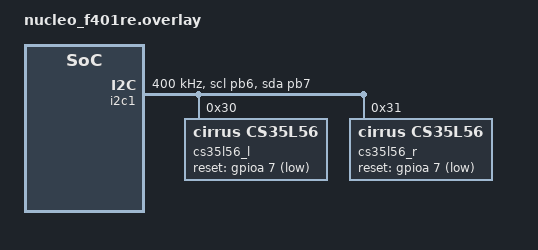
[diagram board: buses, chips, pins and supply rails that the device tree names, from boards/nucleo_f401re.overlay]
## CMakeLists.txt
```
# SPDX-License-Identifier: Apache-2.0
set(DRIVER_BASE "../../../..")
cmake_minimum_required(VERSION 3.20.0)

find_package(Zephyr REQUIRED HINTS $ENV{ZEPHYR_BASE})
project(stream_cs35l56)

FILE(GLOB app_sources src/*.c ${DRIVER_BASE}/cs35l56/*.c ${DRIVER_BASE}/common/fw_img.c)
target_sources(app PRIVATE ${app_sources})

zephyr_library_add_dependencies(offsets_h)

zephyr_compile_definitions(CIRRUS_ZEPHYR_SAMPLE)

add_subdirectory(src)
```

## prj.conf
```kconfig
CONFIG_LOG=y
CONFIG_AUDIO=y
CONFIG_AUDIO_CODEC=y
CONFIG_AUDIO_CS35L56=y
CONFIG_HEAP_MEM_POOL_SIZE=8192
CONFIG_SHELL=y
CONFIG_I2C_SHELL=y
CONFIG_GPIO=y
```

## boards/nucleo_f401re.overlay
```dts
/*
 * Copyright (c) 2026 Cirrus Logic, Inc.
 *
 * SPDX-License-Identifier: Apache-2.0
 */

&i2c1 {
        status = "okay";
        clock-frequency = <I2C_BITRATE_FAST>;
	pinctrl-0 = <&i2c1_scl_pb6 &i2c1_sda_pb7>;

        cs35l56_l: cs35l56@30 {
                compatible = "cirrus,cs35l56";
                reg = <0x30>;
                status = "okay";

                reset-gpios = <&gpioa 7 (GPIO_ACTIVE_LOW | GPIO_PULL_UP)>;
        };

        cs35l56_r: cs35l56@31 {
                compatible = "cirrus,cs35l56";
                reg = <0x31>;
                status = "okay";

                reset-gpios = <&gpioa 7 (GPIO_ACTIVE_LOW | GPIO_PULL_UP)>;
        };
};
```

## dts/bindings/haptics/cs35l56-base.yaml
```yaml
description: CS35L56 Audio Driver

compatible: "cirrus,cs35l56"

include: ["i2c-device.yaml"]

properties:
  reset-gpios:
    required: true
    type: phandle-array
    description: Host GPIO pin mapped to CS35L56 reset pin.
```

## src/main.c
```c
/*
 * Copyright (c) Cirrus Logic 2026 All Rights Reserved, http://www.cirrus.com/
 *
 * Licensed under the Apache License, Version 2.0 (the License); you may
 * not use this file except in compliance with the License.
 * You may obtain a copy of the License at
 *
 * www.apache.org/licenses/LICENSE-2.0
 *
 * Unless required by applicable law or agreed to in writing, software
 * distributed under the License is distributed on an AS IS BASIS, WITHOUT
 * WARRANTIES OR CONDITIONS OF ANY KIND, either express or implied.
 * See the License for the specific language governing permissions and
 * limitations under the License.
 *
 */

#include <errno.h>

#include <zephyr/device.h>
#include <zephyr/devicetree.h>
#include <zephyr/kernel.h>
#include <zephyr/logging/log.h>
#include <zephyr/audio/codec.h>
#include <zephyr/drivers/i2c.h>
#include <zephyr/drivers/uart.h>
#include <zephyr/sys/util.h>
#include "cs35l56_bsp.h"

#define LOG_LEVEL 4

#define AUDIO_AMP_LEFT  0
#define AUDIO_AMP_RIGHT 1

LOG_MODULE_REGISTER(main);

const struct device *amps[] = {
    [AUDIO_AMP_LEFT] = DEVICE_DT_GET(DT_NODELABEL(cs35l56_l)),
    [AUDIO_AMP_RIGHT] = DEVICE_DT_GET(DT_NODELABEL(cs35l56_r)),
};

#define SW0_NODE DT_ALIAS(sw0)
#if !DT_NODE_HAS_STATUS_OKAY(SW0_NODE)
#error "Unsupported board: sw0 devicetree alias is not defined"
#endif
static const struct gpio_dt_spec button = GPIO_DT_SPEC_GET_OR(SW0_NODE, gpios, {0});

static int init_button(void)
{
    int ret;
    if (!gpio_is_ready_dt(&button)) {
        printk("Error: button device %s is not ready\n", button.port->name);
        return ret;
    }

    ret = gpio_pin_configure_dt(&button, GPIO_INPUT);
    if (ret != 0) {
        printk("Error %d: failed to configure %s pin %d\n", ret, button.port->name,
               button.pin);
        return ret;
    }
    return 0;
}

static void set_codec_output_state(bool playback)
{
    printk("Audio playback %s\n", playback ? "starting" : "paused");
    if (playback) {
        for (int i = 0; i < ARRAY_SIZE(amps); i++) {
            if (amps[i] == NULL) {
                continue;
            }
            audio_codec_start_output(amps[i]);
        }
    } else {
        for (int i = 0; i < ARRAY_SIZE(amps); i++) {
            if (amps[i] == NULL) {
                continue;
            }
            audio_codec_stop_output(amps[i]);
        }
    }
    return;
}

int main(void)
{
    init_button();

    if (amps[AUDIO_AMP_LEFT] == NULL || amps[AUDIO_AMP_RIGHT] == NULL) {
        LOG_ERR("CS35L56 stereo device not found");
        return -ENODEV;
    }
    for (int i = 0; i < ARRAY_SIZE(amps); i++) {
        if (!device_is_ready(amps[i])) {
            LOG_ERR("CS35L56 device %s is not ready", amps[i]->name);
            return -EIO;
        } else {
            LOG_INF("Found CS35L56 device %s", amps[i]->name);
        }
    }

    bool playback = false;
    while (1) {
        // Playback is initially paused, toggle playback on button press
        if (gpio_pin_get_dt(&button)) {
            playback = !playback;
            set_codec_output_state(playback);
            k_msleep(100);
            while (gpio_pin_get_dt(&button))
                ;
        }
        k_msleep(1);
    }

    return 0;
}
```

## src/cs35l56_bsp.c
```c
/*
 * Copyright (c) Cirrus Logic 2026 All Rights Reserved, http://www.cirrus.com/
 *
 * Licensed under the Apache License, Version 2.0 (the License); you may
 * not use this file except in compliance with the License.
 * You may obtain a copy of the License at
 *
 * www.apache.org/licenses/LICENSE-2.0
 *
 * Unless required by applicable law or agreed to in writing, software
 * distributed under the License is distributed on an AS IS BASIS, WITHOUT
 * WARRANTIES OR CONDITIONS OF ANY KIND, either express or implied.
 * See the License for the specific language governing permissions and
 * limitations under the License.
 *
 */

#include "cs35l56_bsp.h"
#include "cs35l56.h"
#include <zephyr/kernel.h>
#include <zephyr/logging/log.h>
#include <zephyr/drivers/i2c.h>
#include <zephyr/audio/codec.h>

#include "cs35l56_firmware.h"

LOG_MODULE_REGISTER(cirrus_cs35l56);

struct cs35l56_config {
    struct i2c_dt_spec i2c;
    struct gpio_dt_spec reset_gpio;
    void (*irq_cfg_func)(void);
    void (*irq_enable_func)(void);
    void (*irq_disable_func)(void);
};

int cs35l56_i2c_write_reg_dt(const struct i2c_dt_spec *spec, const uint32_t reg_addr,
                 const uint32_t value)
{
    uint8_t addr_buf[CS35L56_ADDR_BYTES], data_buf[CS35L56_DATA_BYTES],
        msg_buf[CS35L56_I2C_MSG_BYTES];
    int i, j = CS35L56_DATA_BYTES;

    sys_put_be32(reg_addr, addr_buf);
    sys_put_be32(value, data_buf);

    for (i = 0; i < ARRAY_SIZE(addr_buf); i++) {
        msg_buf[i] = addr_buf[i];
        msg_buf[j] = data_buf[i];
        j++;
    }

    return i2c_write_dt(spec, msg_buf, sizeof(msg_buf));
}

int cs35l56_i2c_read_reg_dt(const struct i2c_dt_spec *spec, const uint32_t reg_addr,
                uint32_t *value)
{
    uint8_t write_buf[CS35L56_DATA_BYTES], read_buf[CS35L56_DATA_BYTES];
    int ret;

    sys_put_be32(reg_addr, write_buf);

    ret = i2c_write_read_dt(spec, write_buf, sizeof(write_buf), read_buf, sizeof(read_buf));
    if (ret < 0) {
        LOG_INF("cs35l56_i2c_read_reg_dt error\n");
        return ret;
    }

    *value = sys_get_be32(read_buf);

    return 0;
}

int cs35l56_update_reg_dt(const struct i2c_dt_spec *spec, const uint32_t reg_addr,
              const uint32_t mask, const uint32_t value)
{
    uint32_t old_value, new_value;
    int ret;

    ret = cs35l56_i2c_read_reg_dt(spec, reg_addr, &old_value);
    if (ret < 0) {
        return ret;
    }

    new_value = (old_value & ~mask) | (value & mask);
    if (new_value == old_value) {
        return 0;
    }

    return cs35l56_i2c_write_reg_dt(spec, reg_addr, new_value);
}

/* write addr/word pairs */
int cs35l56_write_array_dt(const struct i2c_dt_spec *spec, const uint32_t *array, uint32_t words)
{
    int i, ret;

    for (i = 0; i < words; i += 2) {
        ret = cs35l56_i2c_write_reg_dt(spec, array[i], array[i + 1]);
        if (ret < 0) {
            return ret;
        }
    }
    return 0;
}

/**
 * Reads a register for a specific value for a specified amount of tries while waiting between
 * reads.
 *
 */
int cs35l56_poll_reg_dt(const struct i2c_dt_spec *spec, const uint32_t reg_addr, uint32_t value,
            uint32_t tries, uint32_t delay)
{
    uint32_t tmp;
    int i, ret;

    for (i = 0; i < tries; i++) {
        ret = cs35l56_i2c_read_reg_dt(spec, reg_addr, &tmp);
        if (ret < 0) {
            return ret;
        }

        if (tmp == value) {
            return 0;
        }

        k_msleep(delay);
    }
    return 0;
}

int cs35l56_write_acked_reg_dt(const struct i2c_dt_spec *spec, const uint32_t reg_addr,
                   uint32_t val, uint32_t acked_val, uint8_t tries, uint32_t delay)
{
    int i, ret;

    ret = cs35l56_i2c_write_reg_dt(spec, reg_addr, val);
    if (ret < 0) {
        return ret;
    }

    for (i = 0; i < tries; i++) {
        uint32_t temp_reg_val;

        k_msleep(delay);

        cs35l56_i2c_read_reg_dt(spec, reg_addr, &temp_reg_val);

        if (temp_reg_val == acked_val) {
            return 0;
        }
    }

    return -1;
}

int cs35l56_i2c_write_bulk_bus(const struct i2c_dt_spec *spec, const uint32_t reg_addr,
                   const uint8_t *buf, unsigned int num_bytes, uint16_t bus_addr)
{
    uint8_t addr_buf[CS35L56_ADDR_BYTES], *msg_buf;
    int i, ret = 0;

    LOG_INF("cs35l56_i2c_write_bulk_bus: reg=%x size=%d\n", reg_addr, num_bytes);

    msg_buf = k_malloc(num_bytes + CS35L56_DATA_BYTES);
    if (!msg_buf) {
        return -ENOMEM;
    }

    sys_put_be32(reg_addr, addr_buf);

    for (i = 0; i < ARRAY_SIZE(addr_buf); i++) {
        msg_buf[i] = addr_buf[i];
    }

    bytecpy(msg_buf + CS35L56_DATA_BYTES, buf, num_bytes);

    ret = i2c_write(spec->bus, msg_buf, CS35L56_DATA_BYTES + num_bytes, bus_addr);

    k_free(msg_buf);
    return ret;
}

int cs35l56_i2c_write_bus(const struct i2c_dt_spec *spec, const uint32_t reg_addr, uint32_t val,
              uint16_t bus_addr)
{
    uint8_t addr_buf[CS35L56_ADDR_BYTES], data_buf[CS35L56_DATA_BYTES], *msg_buf;
    int ret = 0;

    LOG_INF("cs35l56_i2c_write_bus: reg=%x\n", reg_addr);

    msg_buf = k_malloc(CS35L56_I2C_MSG_BYTES);
    if (!msg_buf) {
        return -ENOMEM;
    }

    sys_put_be32(reg_addr, addr_buf);
    sys_put_be32(val, data_buf);

    bytecpy(msg_buf, addr_buf, CS35L56_ADDR_BYTES);
    bytecpy(msg_buf + CS35L56_ADDR_BYTES, data_buf, CS35L56_DATA_BYTES);

    ret = i2c_write(spec->bus, msg_buf, CS35L56_I2C_MSG_BYTES, bus_addr);

    k_free(msg_buf);
    return ret;
}

int cs35l56_i2c_write_bulk_dt(const struct i2c_dt_spec *spec, const uint32_t reg_addr,
                  const uint8_t *buf, unsigned int num_bytes)
{
    uint8_t addr_buf[sizeof(reg_addr)];
    struct i2c_msg msg[2];

    LOG_INF("%s: reg=0x%x size=%d", __func__, reg_addr, num_bytes);

    sys_put_be32(reg_addr, addr_buf);

    msg[0].buf = addr_buf;
    msg[0].len = CS35L56_DATA_BYTES;
    msg[0].flags = I2C_MSG_WRITE;

    msg[1].buf = (uint8_t *)buf;
    msg[1].len = num_bytes;
    msg[1].flags = I2C_MSG_WRITE | I2C_MSG_STOP;

    return i2c_transfer_dt(spec, msg, 2);
}

static int cs35l56_write_fw_blocks(const struct i2c_dt_spec *i2c, halo_boot_block_t *blocks,
                   int num_blocks)
{
    int i, ret;
    halo_boot_block_t block;
    uint32_t bytes, address;
    uint8_t *buffer;

    for (i = 0; i < num_blocks; i++) {
        block = blocks[i];
        bytes = block.block_size;
        address = block.address;
        buffer = (uint8_t *)block.bytes;
        ret = cs35l56_i2c_write_bulk_dt(i2c, address, buffer, bytes);
        if (ret != 0) {
            return ret;
        }
        k_msleep(5);
    }

    return 0;
}

static int cs35l56_fw_reset(const struct device *dev)
{
    int i = 0, ret;
    uint32_t val;

    struct cs35l56_bsp *data = dev->data;
    cs35l56_t *drv = &data->priv;
    const struct i2c_dt_spec *i2c = drv->config.bsp_config.i2c;

    ret = regmap_write(i2c, FIRMWARE_CS35L56_HALO_STATE, CS35L56_STATE_HIBERNATE);
    if (ret < 0) {
        return ret;
    }

    ret = regmap_write(i2c, CS35L56_DSP_VIRTUAL1_MBOX_1, CS35L56_DSP_MBOX_CMD_SYSTEM_RESET);
    if (ret < 0) {
        return ret;
    }

    while (i < 50) {
        ret = regmap_read(i2c, CS35L56_DSP_VIRTUAL1_MBOX_1, &val);
        if (ret < 0) {
            return ret;
        }

        if (val == 0) {
            return 0;
        }

        k_usleep(1000);
        i++;
    }

    return -ETIME;
}

/* NOTE: Example tunings are not designed for general-purpose applications and should
 * be used for verification purposes only. Please contact your Cirrus Logic representative for
 * application specific tunings
 */
static int cs35l56_firmware_load(const struct device *dev)
{
    int num_blocks, ret;
    halo_boot_block_t *blocks;
    struct cs35l56_bsp *data = dev->data;
    cs35l56_t *drv = &data->priv;
    const struct i2c_dt_spec *i2c = drv->config.bsp_config.i2c;

    num_blocks = cs35l56_total_fw_blocks;
    blocks = (halo_boot_block_t *)cs35l56_fw_blocks;
    ret = cs35l56_write_fw_blocks(i2c, blocks, num_blocks);
    if (ret) {
        return ret;
    }

    if (strcmp(dev->name, "cs35l56@0x30") == 0) {
        LOG_INF("cs35l56_firmware_load: Loading Left Amp Tuning\n");

        num_blocks = CS35L56_LT_total_coeff_blocks;
        blocks = (halo_boot_block_t *)CS35L56_LT_coeff_blocks;
        ret = cs35l56_write_fw_blocks(i2c, blocks, num_blocks);
        if (ret) {
            return ret;
        }
    }
    if (strcmp(dev->name, "cs35l56@0x31") == 0) {
        LOG_INF("cs35l56_firmware_load: Loading Right Amp Tuning\n");

        num_blocks = CS35L56_RT_total_coeff_blocks;
        blocks = (halo_boot_block_t *)CS35L56_RT_coeff_blocks;
        ret = cs35l56_write_fw_blocks(i2c, blocks, num_blocks);
        if (ret) {
            return ret;
        }
    }

    ret = cs35l56_fw_reset(dev);
    if (ret) {
        return ret;
    }

    LOG_INF("Loaded tuning set");
    return 0;
}

static uint32_t cs35l56_set_timer(uint32_t duration_ms, bsp_callback_t cb, void *cb_arg)
{
    k_msleep(duration_ms);
    return 0;
}

static uint32_t cs35l56_register_gpio_cb(uint32_t gpio_id, bsp_callback_t cb, void *cb_arg)
{
    // TODO
    return 0;
}

static uint32_t cs35l56_set_gpio(uint32_t gpio_input, uint8_t gpio_state)
{
    uint32_t ret;
    const struct gpio_dt_spec *gpio_id = (const struct gpio_dt_spec *)gpio_input;
    if (gpio_state == 0) {
        printk("Deactivate GPIO\n");
        ret = gpio_pin_set_dt(gpio_id, BSP_GPIO_ACTIVE);
    } else {
        printk("Activate GPIO\n");
        ret = gpio_pin_set_dt(gpio_id, BSP_GPIO_INACTIVE);
    }
    return ret;
}

bsp_driver_if_t cs35l56_bsp_driver_if = {.set_timer = cs35l56_set_timer,
                     .register_gpio_cb = cs35l56_register_gpio_cb,
                     .set_gpio = cs35l56_set_gpio};

bsp_driver_if_t *bsp_driver_if_g = &cs35l56_bsp_driver_if;

static int bsp_cs35l56_configure(const struct device *dev, struct audio_codec_cfg *cfg)
{
    // TODO
    return 0;
}

static void cs35l56_start_output(const struct device *dev)
{
    int ret = 0;
    struct cs35l56_bsp *data = dev->data;
    cs35l56_t *drv = &data->priv;
    const struct i2c_dt_spec *i2c = drv->config.bsp_config.i2c;
    ret = regmap_write(i2c, CS35L56_DSP_VIRTUAL1_MBOX_1, CS35L56_DSP_MBOX_CMD_PLAY);
    if (ret) {
        LOG_ERR("Failed to start output.");
    }
}

static void cs35l56_stop_output(const struct device *dev)
{
    int ret = 0;
    struct cs35l56_bsp *data = dev->data;
    cs35l56_t *drv = &data->priv;
    const struct i2c_dt_spec *i2c = drv->config.bsp_config.i2c;
    ret = regmap_write(i2c, CS35L56_DSP_VIRTUAL1_MBOX_1, CS35L56_DSP_MBOX_CMD_PAUSE);
    if (ret) {
        LOG_ERR("Failed to stop output.");
    }
}

static int cs35l56_init(const struct device *dev)
{
    struct cs35l56_config *config = (struct cs35l56_config *)dev->config;
    struct cs35l56_bsp *data = dev->data;
    cs35l56_t *drv = &data->priv;
    uint32_t val;
    int ret;
    LOG_INF("cs35l56_init\n");

    // Setup reset pin
    drv->config.bsp_config.i2c = &config->i2c;
    drv->config.is_ext_bst = true;
    static const struct gpio_dt_spec reset =
        GPIO_DT_SPEC_GET(DT_NODELABEL(cs35l56_l), reset_gpios);

    if (!gpio_is_ready_dt(&reset)) {
        LOG_INF("cs35l56 reset pin GPIO port is not ready.\n");
        return 0;
    }

    ret = gpio_pin_configure_dt(&reset, GPIO_OUTPUT_INACTIVE);
    if (ret != 0) {
        LOG_INF("cs35l56 configuring reset pin failed: %d\n", ret);
        return 0;
    }

    drv->config.bsp_config.reset_gpio_id = &reset;

    if (!i2c_is_ready_dt(&config->i2c)) {
        LOG_INF("cs35l56 no I2C\n");
        return -ENODEV;
    }

    ret = cs35l56_reset(drv);
    if (ret < 0) {
        LOG_INF("cs35l56 reset failed: %d\n", ret);
        return ret;
    }

    regmap_read(&config->i2c, FIRMWARE_CS35L56_HALO_STATE, &val);
    LOG_INF("cs35l56_init: HALO_STATE = %x\n", val);

    ret = cs35l56_boot(drv, NULL);
    if (ret < 0) {
        LOG_INF("cs35l56_boot error\n");
        return ret;
    }

    LOG_INF("cs35l56_firmware_load\n");
    ret = cs35l56_firmware_load(dev);
    if (ret < 0) {
        LOG_INF("cs35l56_firmware_load error\n");
        return ret;
    }

    LOG_INF("cs35l56_init: Enable ASP w/ %dHz refclk freq",
        AUDIO_PCM_RATE_48K * AUDIO_PCM_WIDTH_32_BITS * 2);
    ret = cs35l56_set_asp_enable(drv, true,
                     AUDIO_PCM_RATE_48K * AUDIO_PCM_WIDTH_32_BITS *
                         2); // Enable PPL with 3.072 MHz refclk frequency
    if (ret) {
        LOG_INF("cs35l56_set_asp_enable error");
        return ret;
    }
    k_msleep(1000);

    regmap_read(&config->i2c, CS35L56_SW_RESET_DEVID_REG, &val);
    LOG_INF("cs35l56_init: DEVICE ID: = %x\n", val);

    regmap_read(&config->i2c, FIRMWARE_CS35L56_HALO_STATE, &val);
    LOG_INF("cs35l56_init: HALO_STATE = %x\n", val);

    return 0;
}

static const struct audio_codec_api cs35l56_driver_api = {
    .configure = bsp_cs35l56_configure,
    .start_output = cs35l56_start_output,
    .stop_output = cs35l56_stop_output,
};

#define CS35L56_INIT(inst)                                                                         \
                                                                                                   \
    static const struct cs35l56_config cs35l56_config_##inst = {                               \
        .i2c = I2C_DT_SPEC_INST_GET(inst),                                                 \
        .reset_gpio = GPIO_DT_SPEC_INST_GET_OR(inst, reset_gpios, {0}),                    \
    };                                                                                         \
                                                                                                   \
    static struct cs35l56_bsp cs35l56_bsp_data_##inst = {                                      \
                                                                                                   \
    };                                                                                         \
                                                                                                   \
    PM_DEVICE_DT_INST_DEFINE(inst, cs35l56_pm_action);                                         \
                                                                                                   \
    DEVICE_DT_INST_DEFINE(inst, cs35l56_init, NULL, &cs35l56_bsp_data_##inst,                  \
                  &cs35l56_config_##inst, POST_KERNEL,                                 \
                  CONFIG_AUDIO_CODEC_INIT_PRIORITY, &cs35l56_driver_api);

DT_INST_FOREACH_STATUS_OKAY(CS35L56_INIT)
```

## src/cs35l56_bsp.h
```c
/*
 * Copyright (c) Cirrus Logic 2026 All Rights Reserved, http://www.cirrus.com/
 *
 * Licensed under the Apache License, Version 2.0 (the License); you may
 * not use this file except in compliance with the License.
 * You may obtain a copy of the License at
 *
 * www.apache.org/licenses/LICENSE-2.0
 *
 * Unless required by applicable law or agreed to in writing, software
 * distributed under the License is distributed on an AS IS BASIS, WITHOUT
 * WARRANTIES OR CONDITIONS OF ANY KIND, either express or implied.
 * See the License for the specific language governing permissions and
 * limitations under the License.
 *
 */

#ifndef CS35L56_BSP_H
#define CS35L56_BSP_H

#define DT_DRV_COMPAT cirrus_cs35l56

#include "cs35l56.h"
#include <stdbool.h>

#include <zephyr/sys/byteorder.h>
#include <zephyr/device.h>
#include <zephyr/pm/device.h>
#include <zephyr/pm/device_runtime.h>
#include <zephyr/devicetree.h>
#include <zephyr/drivers/gpio.h>
#include <zephyr/irq.h>
#include <zephyr/kernel.h>
#include <zephyr/logging/log.h>
#include <zephyr/sys/util.h>

#include "cs35l56_firmware.h"

#define regmap_cp_config_t     struct i2c_dt_spec
#define REGMAP_GET_CP(x)       x->config.bsp_config.i2c
#define regmap_read            cs35l56_i2c_read_reg_dt
#define regmap_write           cs35l56_i2c_write_reg_dt
#define regmap_update_reg      cs35l56_update_reg_dt
#define regmap_write_array     cs35l56_write_array_dt
#define regmap_poll_reg        cs35l56_poll_reg_dt
#define regmap_write_acked_reg cs35l56_write_acked_reg_dt
#define regmap_write_blocks    cs35l56_i2c_write_bulk_dt

/**
 * Value to indicate driving a GPIO low
 *
 * @see bsp_driver_if_t.set_gpio
 *
 */
#define BSP_GPIO_LOW      (0)
#define BSP_GPIO_INACTIVE (0)

/**
 * Value to indicate driving a GPIO high
 *
 * @see bsp_driver_if_t.set_gpio
 *
 */
#define BSP_GPIO_HIGH   (1)
#define BSP_GPIO_ACTIVE (1)

/**
 * Value to indicate unexpected error in BSP status
 *
 */
#define BSP_STATUS_OK   (0)
#define BSP_STATUS_FAIL (1)

/***********************************************************************************************************************
 * ENUMS, STRUCTS, UNIONS, TYPEDEFS
 **********************************************************************************************************************/

/**
 * Callback type for BSP-to-Driver callbacks
 *
 * @param [in] status           Result of BSP call
 * @param [in] arg              Argument registered when BSP call was issued
 *
 * @return none
 *
 * @see BSP_STATUS_OK BSP_STATUS_FAIL
 *
 */
typedef void (*bsp_callback_t)(uint32_t status, void *arg);

/**
 * BSP-to-Driver public API
 *
 * All API calls return a status @see CS35L56_STATUS_
 *
 */
typedef struct {
    /**
     * Set GPIO to LOW/HIGH
     *
     * @param [in] gpio_id      ID for GPIO to change - can be defined in implementation header
     * @param [in] gpio_state   LOW or HIGH
     *
     * @return
     * - BSP_STATUS_FAIL        if gpio_id is invalid, or call to MCU HAL fails
     * - BSP_STATUS_OK          otherwise
     *
     * @see BSP_GPIO_LOW BSP_GPIO_HIGH
     *
     */
    uint32_t (*set_gpio)(uint32_t gpio_id, uint8_t gpio_state);

    /**
     * Enable or disable a supply
     *
     * @param [in] supply_id      ID for supply to change - can be defined in implementation
     * header
     * @param [in] supply_state   Enable or Disable
     *
     * @return
     * - BSP_STATUS_FAIL        if gpio_id is invalid, or call to MCU HAL fails
     * - BSP_STATUS_OK          otherwise
     *
     * @note this function shouldn't return until the supply has finished rising or falling
     *
     * @see BSP_SUPPLY_ENABLE BSP_SUPPLY_DISABLE
     *
     */
    uint32_t (*set_supply)(uint32_t supply_id, uint8_t supply_state);

    /**
     * Register GPIO Callback
     *
     * Register a callback for when a GPIO changes state.
     *
     * @param [in] gpio_id      ID for GPIO to change - can be defined in implementation header
     * @param [in] cb           pointer to callback function
     * @param [in] cb_arg       pointer to argument to use when calling callback
     *
     * @return
     * - BSP_STATUS_FAIL        if gpio_id is invalid, if any pointers are NULL
     * - BSP_STATUS_OK          otherwise
     *
     */
    uint32_t (*register_gpio_cb)(uint32_t gpio_id, bsp_callback_t cb, void *cb_arg);

    /**
     * Set a timer to expire
     *
     * @param [in] duration_ms  Duration of timer in milliseconds
     * @param [in] cb           pointer to callback function
     * @param [in] cb_arg       pointer to argument to use when calling callback
     *
     * @return
     * - BSP_STATUS_FAIL        if duration_ms is invalid, if any pointers are NULL
     * - BSP_STATUS_OK          otherwise
     *
     */
    uint32_t (*set_timer)(uint32_t duration_ms, bsp_callback_t cb, void *cb_arg);

    /**
     * Reset I2C Port used for a specific device
     *
     * Abort the current I2C transaction and reset the I2C peripheral.  This is required for
     * quickly handling of CS35L56 IRQ events.
     *
     * @param [in] bsp_dev_id       ID of the I2C device corresponding to the I2C peripheral to
     * reset
     * @param [out] was_i2c_busy    flag to indicate whether an I2C transaction was in progress
     * when reset
     *
     * @return
     * - BSP_STATUS_FAIL        if bsp_dev_id is invalid
     * - BSP_STATUS_OK          otherwise
     *
     */
    uint32_t (*i2c_reset)(uint32_t bsp_dev_id, bool *was_i2c_busy);

    /**
     * Perform an I2C Write-Repeated Start-Read transaction
     *
     * This is the common way to read data from an I2C device with a register file, since the
     * address of the register to read must first be written to the device before reading any
     * contents.
     *
     * Perform transaction in the order:
     * 1. I2C Start
     * 2. I2C write of \b write_length bytes from \b write_buffer
     * 3. I2C Repeated Start
     * 4. I2C read of \b read_length bytes into \b read_buffer
     * 5. I2C Stop
     *
     * BSP will decode \b bsp_dev_id to the correct I2C bus and I2C address.
     *
     * @param [in] bsp_dev_id       ID of the I2C device corresponding to the I2C peripheral to
     * reset
     * @param [in] write_buffer     pointer to array of bytes to write
     * @param [in] write_length     total number of bytes in \b write_buffer
     * @param [in] read_buffer      pointer to array of bytes to load with I2C bytes read
     * @param [in] read_length      total number of bytes to read into \b read_buffer
     * @param [in] cb               pointer to callback function
     * @param [in] cb_arg           pointer to argument to use when calling callback
     *
     * @return
     * - BSP_STATUS_FAIL            if bsp_dev_id is invalid, if any portion of I2C transaction
     * failed
     * - BSP_STATUS_OK              otherwise
     *
     */
    uint32_t (*i2c_read_repeated_start)(uint32_t bsp_dev_id, uint8_t *write_buffer,
                        uint32_t write_length, uint8_t *read_buffer,
                        uint32_t read_length, bsp_callback_t cb, void *cb_arg);

    /**
     * Perform I2C Write
     *
     * BSP will decode \b bsp_dev_id to the correct I2C bus and I2C address.
     *
     * @param [in] bsp_dev_id       ID of the I2C device corresponding to the I2C peripheral to
     * reset
     * @param [in] write_buffer     pointer to array of bytes to write
     * @param [in] write_length     total number of bytes in \b write_buffer
     * @param [in] cb               pointer to callback function
     * @param [in] cb_arg           pointer to argument to use when calling callback
     *
     * @return
     * - BSP_STATUS_FAIL            if bsp_dev_id is invalid, if any portion of I2C transaction
     * failed
     * - BSP_STATUS_OK              otherwise
     *
     */
    uint32_t (*i2c_write)(uint32_t bsp_dev_id, uint8_t *write_buffer, uint32_t write_length,
                  bsp_callback_t cb, void *cb_arg);

    /**
     * Perform a Double-Buffered ("db") I2C Write
     *
     * This will first write the contents of \b write_buffer_0 to the I2C device, and then write
     * the contents of
     * \b write_buffer_1.
     *
     * @param [in] bsp_dev_id       ID of the I2C device corresponding to the I2C peripheral to
     * reset
     * @param [in] write_buffer_0   pointer to array of first batch of bytes to write
     * @param [in] write_length_0   total number of bytes in \b write_buffer_0
     * @param [in] write_buffer_1   pointer to array of second batch of bytes to write
     * @param [in] write_length_1   total number of bytes in \b write_buffer_1
     * @param [in] cb               pointer to callback function
     * @param [in] cb_arg           pointer to argument to use when calling callback
     *
     * @return
     * - BSP_STATUS_FAIL            if bsp_dev_id is invalid, if any portion of I2C transaction
     * failed
     * - BSP_STATUS_OK              otherwise
     *
     */
    uint32_t (*i2c_db_write)(uint32_t bsp_dev_id, uint8_t *write_buffer_0,
                 uint32_t write_length_0, uint8_t *write_buffer_1,
                 uint32_t write_length_1, bsp_callback_t cb, void *cb_arg);

    /**
     * Perform a SPI read
     *
     * This function will write and then read back data from a SPI device with a register file.
     * Padding will automatically be added.
     *
     * Perform transaction in the order:
     * 1. SPI CS low
     * 2. SPI write of \b addr_length bytes from \b addr_buffer
     * 3. SPI write of pad_len padding clock cycles
     * 4. SPI read of \b data_length bytes into \b data_buffer
     * 5. SPI CS high
     *
     * BSP will decode \b bsp_dev_id to the correct SPI bus and SPI address.
     *
     * @param [in] bsp_dev_id       ID of the SPI device corresponding to the SPI peripheral to
     * reset
     * @param [in] addr_buffer      pointer to array of bytes to write
     * @param [in] addr_length      total number of bytes in \b write_buffer
     * @param [in] data_buffer      pointer to array of bytes to load with SPI bytes read
     * @param [in] data_length      total number of bytes to read into \b read_buffer
     * @param [in] pad_len          total number of bytes of padding between the addr write
     * transaction and the data read
     *
     * @return
     * - BSP_STATUS_FAIL            if bsp_dev_id is invalid, if any portion of SPI transaction
     * failed
     * - BSP_STATUS_OK              otherwise
     *
     */
    uint32_t (*spi_read)(uint32_t bsp_dev_id, uint8_t *addr_buffer, uint32_t addr_length,
                 uint8_t *data_buffer, uint32_t data_length, uint32_t pad_len);

    /**
     * Perform a SPI write
     *
     * This function will write data to a SPI device with a register file. Padding will
     * automatically be added.
     *
     * Perform transaction in the order:
     * 1. SPI CS low
     * 2. SPI write of \b addr_length bytes from \b addr_buffer
     * 3. SPI write of pad_len padding clock cycles
     * 4. SPI write of \b data_length bytes into \b data_buffer
     * 5. SPI CS high
     *
     * BSP will decode \b bsp_dev_id to the correct SPI bus and SPI address.
     *
     * @param [in] bsp_dev_id       ID of the SPI device corresponding to the SPI peripheral to
     * reset
     * @param [in] addr_buffer      pointer to array of bytes to write
     * @param [in] addr_length      total number of bytes in \b write_buffer
     * @param [in] data_buffer      pointer to array of bytes to load with SPI bytes read
     * @param [in] data_length      total number of bytes to read into \b read_buffer
     * @param [in] pad_len          total number of bytes of padding between the addr write
     * transaction and the data write
     *
     * @return
     * - BSP_STATUS_FAIL            if bsp_dev_id is invalid, if any portion of SPI transaction
     * failed
     * - BSP_STATUS_OK              otherwise
     *
     */
    uint32_t (*spi_write)(uint32_t bsp_dev_id, uint8_t *addr_buffer, uint32_t addr_length,
                  uint8_t *data_buffer, uint32_t data_length, uint32_t pad_len);

    /**
     * Global enable of interrupts
     *
     * Since this is MCU-platform specific, it is included as part of the BSP-Driver interface.
     *
     * @return
     * - BSP_STATUS_FAIL            if bsp_dev_id is invalid, if any portion of I2C transaction
     * failed
     * - BSP_STATUS_OK              otherwise
     *
     */
    uint32_t (*enable_irq)(void);

    /**
     * Global disable of interrupts
     *
     * Since this is MCU-platform specific, it is included as part of the BSP-Driver interface.
     *
     * @return
     * - BSP_STATUS_FAIL            if bsp_dev_id is invalid, if any portion of I2C transaction
     * failed
     * - BSP_STATUS_OK              otherwise
     *
     */
    uint32_t (*disable_irq)(void);

    /**
     * Temporarily change the clock speed of the SPI bus
     *
     * Since portions of a driver may have a maximum bus speed limitation, this API allows for
     * temporarily specifying the maximum bus speed.
     *
     * @return
     * - BSP_STATUS_FAIL            if a slower speed is requested by the current SPI speed is
     * already slowest available
     * - BSP_STATUS_OK              otherwise
     *
     */
    uint32_t (*spi_throttle_speed)(uint32_t speed_hz);

    /**
     * Restore the clock speed of the SPI bus to the original configuration
     *
     * After a call to spi_throttle_speed(), this API allows for restoring the bus clock speed
     * of the SPI bus to the original configuration given during BSP initialization.
     *
     * @return                      BSP_STATUS_OK always
     *
     */
    uint32_t (*spi_restore_speed)(void);
} bsp_driver_if_t;

struct cs35l56_bsp {
    cs35l56_t priv;
};

extern bsp_driver_if_t *bsp_driver_if_g;

/**
 * Writes the contents of a single register/memory address via i2c
 *
 * @param [in] spec             Pointer to the i2c struct reference
 * @param [in] reg_addr             32-bit address to be written
 * @param [in] value              32-bit value to be written
 *
 * @return
 * - -EIO                       on failure
 * - BSP_STATUS_OK              otherwise
 *
 */
int cs35l56_i2c_write_reg_dt(const struct i2c_dt_spec *spec, const uint32_t reg_addr,
                 const uint32_t value);

/**
 * Reads the contents of a single register/memory address via i2c
 *
 * @param [in] spec               Pointer to the i2c struct reference
 * @param [in] reg_addr             32-bit address to be read
 * @param [out] value             Pointer to variable to read data into
 *
 * @return
 * - -EIO                       on failure
 * - BSP_STATUS_OK              otherwise
 *
 */
int cs35l56_i2c_read_reg_dt(const struct i2c_dt_spec *spec, const uint32_t reg_addr,
                uint32_t *value);

/**
 * Read-Modify-Write of register using 32-bit mask via i2c
 *
 *
 * @param [in] spec             Pointer to the i2c struct reference
 * @param [in] reg_addr         32-bit address to be read
 * @param [in] mask             32-bit mask for bits to be modified
 * @param [in] value            32-bit value to be written
 *
 * @return
 * - BSP_STATUS_FAIL            on read failure
 * - BSP_STATUS_OK              otherwise
 */
int cs35l56_update_reg_dt(const struct i2c_dt_spec *spec, const uint32_t reg_addr,
              const uint32_t mask, const uint32_t value);

/**
 * Writes an array of addr/word pairs to its corresponding register/memory addresses via i2c
 *
 * @param [in] spec             Pointer to the i2c struct reference
 * @param [in] array            Array of address/word pairs with the addr at array[i] and the data
 * word at array[i+1]
 * @param [in] words            Size of array to be written (number of words * 2)
 *
 * @return
 * - BSP_STATUS_FAIL            on write failure
 * - BSP_STATUS_OK              otherwise
 */
int cs35l56_write_array_dt(const struct i2c_dt_spec *spec, const uint32_t *array, uint32_t words);

/**
 * Reads a register via i2c for a specific value for a set number of tries while waiting
 * between reads.
 *
 * @param [in] spec             Pointer to the i2c struct reference
 * @param [in] reg_addr         Address to read from.
 * @param [in] value            Value to compare the read value to.
 * @param [in] tries            How many times to read the address.
 * @param [in] delay            How long to delay between each read.
 *
 * @return
 * - BSP_STATUS_FAIL            if the i2c read failed or if value not polled
 *                              within the amount of tries
 * - BSP_STATUS_OK              otherwise
 */
int cs35l56_poll_reg_dt(const struct i2c_dt_spec *spec, const uint32_t reg_addr, uint32_t value,
            uint32_t tries, uint32_t delay);

/**
 * Write a value to a register via i2c and poll for an updated value
 *
 * @param [in] spec             Pointer to the i2c struct reference
 * @param [in] reg_addr         Address to read from.
 * @param [in] val              32-bit value to be written
 * @param [in] acked_val        Value to poll for after writing 'val'
 * @param [in] tries            How many times to read the address.
 * @param [in] delay            How long to delay between each read (ms)
 *
 * @return
 * - BSP_STATUS_FAIL            if the i2c write failed or if value not polled
 *                              within the amount of tries
 * - BSP_STATUS_OK              otherwise
 */
int cs35l56_write_acked_reg_dt(const struct i2c_dt_spec *spec, const uint32_t reg_addr,
                   uint32_t val, uint32_t acked_val, uint8_t tries, uint32_t delay);
#endif
```
